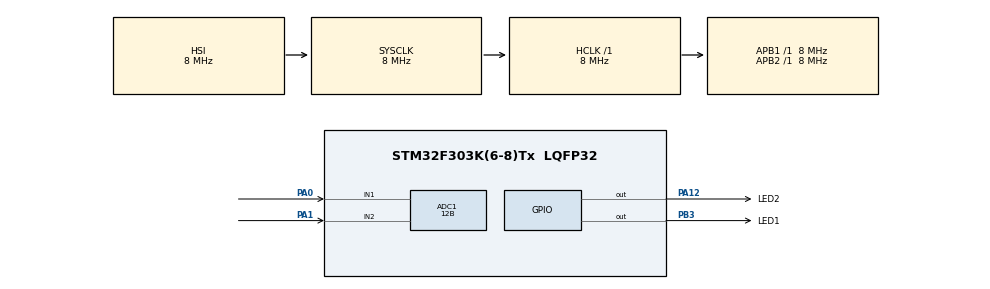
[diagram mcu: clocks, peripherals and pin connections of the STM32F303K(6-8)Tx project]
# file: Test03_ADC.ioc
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ADC1.Channel-0\#ChannelRegularConversion=ADC_CHANNEL_1
ADC1.Channel-1\#ChannelRegularConversion=ADC_CHANNEL_2
ADC1.ClockPrescaler=ADC_CLOCK_SYNC_PCLK_DIV2
ADC1.ContinuousConvMode=ENABLE
ADC1.DMAAccessModeView=ENABLE
ADC1.DMAContinuousRequests=ENABLE
ADC1.DataAlign=ADC_DATAALIGN_RIGHT
ADC1.DiscontinuousConvMode=DISABLE
ADC1.EOCSelection=ADC_EOC_SINGLE_CONV
ADC1.EnableAnalogWatchDog1=false
ADC1.EnableAnalogWatchDog2=false
ADC1.EnableAnalogWatchDog3=false
ADC1.EnableInjectedConversion=ENABLE
ADC1.EnableRegularConversion=ENABLE
ADC1.ExternalTrigConv=ADC_SOFTWARE_START
ADC1.ExternalTrigConvEdge=ADC_EXTERNALTRIGCONVEDGE_NONE
ADC1.InjNumberOfConversion=0
ADC1.LowPowerAutoWait=DISABLE
ADC1.NbrOfConversion=2
ADC1.NbrOfConversionFlag=1
ADC1.Offset-0\#ChannelRegularConversion=0
ADC1.Offset-1\#ChannelRegularConversion=0
ADC1.OffsetNumber-0\#ChannelRegularConversion=ADC_OFFSET_NONE
ADC1.OffsetNumber-1\#ChannelRegularConversion=ADC_OFFSET_NONE
ADC1.Overrun=ADC_OVR_DATA_PRESERVED
ADC1.Rank-0\#ChannelRegularConversion=1
ADC1.Rank-1\#ChannelRegularConversion=2
ADC1.Resolution=ADC_RESOLUTION_12B
ADC1.SamplingTime-0\#ChannelRegularConversion=ADC_SAMPLETIME_1CYCLE_5
ADC1.SamplingTime-1\#ChannelRegularConversion=ADC_SAMPLETIME_1CYCLE_5
ADC1.ScanConvMode=ADC_SCAN_ENABLE
ADC1.SubFamily=STM32F303x8
ADC1.master=1
Dma.ADC1.0.Direction=DMA_PERIPH_TO_MEMORY
Dma.ADC1.0.Instance=DMA1_Channel1
Dma.ADC1.0.MemDataAlignment=DMA_MDATAALIGN_HALFWORD
Dma.ADC1.0.MemInc=DMA_MINC_ENABLE
Dma.ADC1.0.Mode=DMA_CIRCULAR
Dma.ADC1.0.PeriphDataAlignment=DMA_PDATAALIGN_HALFWORD
Dma.ADC1.0.PeriphInc=DMA_PINC_DISABLE
Dma.ADC1.0.Priority=DMA_PRIORITY_LOW
Dma.Request0=ADC1
Mcu.Family=STM32F3
Mcu.Name=STM32F303K(6-8)Tx
Mcu.Package=LQFP32
NVIC.DMA1_Channel1_IRQn=true\:0\:0\:false\:true\:true\:1
NVIC.PriorityGroup=NVIC_PRIORITYGROUP_4
PA0.Mode=IN1-Single-Ended
PA0.Signal=ADC1_IN1
PA1.Mode=IN2-Single-Ended
PA1.Signal=ADC1_IN2
PA12.GPIO_Label=LED2
PA12.Signal=GPIO_Output
PB3.GPIO_Label=LED1
PB3.Signal=GPIO_Output
ProjectManager.HeapSize=0x200
ProjectManager.StackSize=0x400
ProjectManager.TargetToolchain=SW4STM32
RCC.AHBFreq_Value=8000000
RCC.APB1Freq_Value=8000000
RCC.APB2Freq_Value=8000000
RCC.CortexFreq_Value=8000000
RCC.HSE_VALUE=8000000
RCC.HSI_VALUE=8000000
RCC.PLLMUL=RCC_PLL_MUL4
RCC.SYSCLKFreq_VALUE=8000000
board=Test03_ADC

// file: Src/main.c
/**
  ******************************************************************************
  * File Name          : main.c
  * Description        : Main program body
  ******************************************************************************
  *
  * COPYRIGHT(c) 2016 STMicroelectronics
  *
  * Redistribution and use in source and binary forms, with or without modification,
  * are permitted provided that the following conditions are met:
  *   1. Redistributions of source code must retain the above copyright notice,
  *      this list of conditions and the following disclaimer.
  *   2. Redistributions in binary form must reproduce the above copyright notice,
  *      this list of conditions and the following disclaimer in the documentation
  *      and/or other materials provided with the distribution.
  *   3. Neither the name of STMicroelectronics nor the names of its contributors
  *      may be used to endorse or promote products derived from this software
  *      without specific prior written permission.
  *
  * THIS SOFTWARE IS PROVIDED BY THE COPYRIGHT HOLDERS AND CONTRIBUTORS "AS IS"
  * AND ANY EXPRESS OR IMPLIED WARRANTIES, INCLUDING, BUT NOT LIMITED TO, THE
  * IMPLIED WARRANTIES OF MERCHANTABILITY AND FITNESS FOR A PARTICULAR PURPOSE ARE
  * DISCLAIMED. IN NO EVENT SHALL THE COPYRIGHT HOLDER OR CONTRIBUTORS BE LIABLE
  * FOR ANY DIRECT, INDIRECT, INCIDENTAL, SPECIAL, EXEMPLARY, OR CONSEQUENTIAL
  * DAMAGES (INCLUDING, BUT NOT LIMITED TO, PROCUREMENT OF SUBSTITUTE GOODS OR
  * SERVICES; LOSS OF USE, DATA, OR PROFITS; OR BUSINESS INTERRUPTION) HOWEVER
  * CAUSED AND ON ANY THEORY OF LIABILITY, WHETHER IN CONTRACT, STRICT LIABILITY,
  * OR TORT (INCLUDING NEGLIGENCE OR OTHERWISE) ARISING IN ANY WAY OUT OF THE USE
  * OF THIS SOFTWARE, EVEN IF ADVISED OF THE POSSIBILITY OF SUCH DAMAGE.
  *
  ******************************************************************************
  */
#include "main.h"
#include "stm32f3xx_hal.h"

ADC_HandleTypeDef hadc1;
DMA_HandleTypeDef hdma_adc1;

/* USER CODE BEGIN PV */
/* Private variables ---------------------------------------------------------*/

/* USER CODE END PV */

void SystemClock_Config(void);
void Error_Handler(void);
static void MX_GPIO_Init(void);
static void MX_DMA_Init(void);
static void MX_ADC1_Init(void);
static void MX_NVIC_Init(void);

/* USER CODE BEGIN PFP */
/* Private function prototypes -----------------------------------------------*/

/* USER CODE END PFP */

/* USER CODE BEGIN 0 */
enum{LENGTH=2};
uint16_t ADCBuffer[LENGTH];
/* USER CODE END 0 */

int main(void)
{

  /* MCU Configuration----------------------------------------------------------*/

  /* Reset of all peripherals, Initializes the Flash interface and the Systick. */
  HAL_Init();

  /* Configure the system clock */
  SystemClock_Config();

  /* Initialize all configured peripherals */
  MX_GPIO_Init();
  MX_DMA_Init();
  MX_ADC1_Init();

  /* Initialize interrupts */
  MX_NVIC_Init();

  /* USER CODE BEGIN 2 */
	HAL_ADC_MspInit(&hadc1);
	memset(ADCBuffer,0,sizeof(ADCBuffer));
	HAL_ADC_Start_DMA(&hadc1,ADCBuffer,LENGTH);
  /* USER CODE END 2 */

  /* Infinite loop */
  while (1)
  {

  }

}

/** System Clock Configuration
*/
void SystemClock_Config(void)
{

  RCC_OscInitTypeDef RCC_OscInitStruct;
  RCC_ClkInitTypeDef RCC_ClkInitStruct;

    /**Initializes the CPU, AHB and APB busses clocks
    */
  RCC_OscInitStruct.OscillatorType = RCC_OSCILLATORTYPE_HSI;
  RCC_OscInitStruct.HSIState = RCC_HSI_ON;
  RCC_OscInitStruct.HSICalibrationValue = 16;
  RCC_OscInitStruct.PLL.PLLState = RCC_PLL_NONE;
  if (HAL_RCC_OscConfig(&RCC_OscInitStruct) != HAL_OK)
  {
    Error_Handler();
  }

    /**Initializes the CPU, AHB and APB busses clocks
    */
  RCC_ClkInitStruct.ClockType = RCC_CLOCKTYPE_HCLK|RCC_CLOCKTYPE_SYSCLK
                              |RCC_CLOCKTYPE_PCLK1|RCC_CLOCKTYPE_PCLK2;
  RCC_ClkInitStruct.SYSCLKSource = RCC_SYSCLKSOURCE_HSI;
  RCC_ClkInitStruct.AHBCLKDivider = RCC_SYSCLK_DIV1;
  RCC_ClkInitStruct.APB1CLKDivider = RCC_HCLK_DIV1;
  RCC_ClkInitStruct.APB2CLKDivider = RCC_HCLK_DIV1;

  if (HAL_RCC_ClockConfig(&RCC_ClkInitStruct, FLASH_LATENCY_0) != HAL_OK)
  {
    Error_Handler();
  }

    /**Configure the Systick interrupt time
    */
  HAL_SYSTICK_Config(HAL_RCC_GetHCLKFreq()/1000);

    /**Configure the Systick
    */
  HAL_SYSTICK_CLKSourceConfig(SYSTICK_CLKSOURCE_HCLK);

  /* SysTick_IRQn interrupt configuration */
  HAL_NVIC_SetPriority(SysTick_IRQn, 0, 0);
}

/** NVIC Configuration
*/
static void MX_NVIC_Init(void)
{
  /* DMA1_Channel1_IRQn interrupt configuration */
  HAL_NVIC_SetPriority(DMA1_Channel1_IRQn, 0, 0);
  HAL_NVIC_EnableIRQ(DMA1_Channel1_IRQn);
}

/* ADC1 init function */
static void MX_ADC1_Init(void)
{

  ADC_MultiModeTypeDef multimode;
  ADC_ChannelConfTypeDef sConfig;

    /**Common config
    */
  hadc1.Instance = ADC1;
  hadc1.Init.ClockPrescaler = ADC_CLOCK_SYNC_PCLK_DIV2;
  hadc1.Init.Resolution = ADC_RESOLUTION_12B;
  hadc1.Init.ScanConvMode = ADC_SCAN_ENABLE;
  hadc1.Init.ContinuousConvMode = ENABLE;
  hadc1.Init.DiscontinuousConvMode = DISABLE;
  hadc1.Init.ExternalTrigConvEdge = ADC_EXTERNALTRIGCONVEDGE_NONE;
  hadc1.Init.ExternalTrigConv = ADC_SOFTWARE_START;
  hadc1.Init.DataAlign = ADC_DATAALIGN_RIGHT;
  hadc1.Init.NbrOfConversion = 2;
  hadc1.Init.DMAContinuousRequests = ENABLE;
  hadc1.Init.EOCSelection = ADC_EOC_SINGLE_CONV;
  hadc1.Init.LowPowerAutoWait = DISABLE;
  hadc1.Init.Overrun = ADC_OVR_DATA_PRESERVED;
  if (HAL_ADC_Init(&hadc1) != HAL_OK)
  {
    Error_Handler();
  }

    /**Configure the ADC multi-mode
    */
  multimode.DMAAccessMode = ADC_DMAACCESSMODE_12_10_BITS;
  multimode.TwoSamplingDelay = ADC_TWOSAMPLINGDELAY_1CYCLE;
  if (HAL_ADCEx_MultiModeConfigChannel(&hadc1, &multimode) != HAL_OK)
  {
    Error_Handler();
  }

    /**Configure Regular Channel
    */
  sConfig.Channel = ADC_CHANNEL_1;
  sConfig.Rank = 1;
  sConfig.SingleDiff = ADC_SINGLE_ENDED;
  sConfig.SamplingTime = ADC_SAMPLETIME_1CYCLE_5;
  sConfig.OffsetNumber = ADC_OFFSET_NONE;
  sConfig.Offset = 0;
  if (HAL_ADC_ConfigChannel(&hadc1, &sConfig) != HAL_OK)
  {
    Error_Handler();
  }

    /**Configure Regular Channel
    */
  sConfig.Channel = ADC_CHANNEL_2;
  sConfig.Rank = 2;
  if (HAL_ADC_ConfigChannel(&hadc1, &sConfig) != HAL_OK)
  {
    Error_Handler();
  }

}

static void MX_DMA_Init(void)
{
  /* DMA controller clock enable */
  __HAL_RCC_DMA1_CLK_ENABLE();

}

/** Configure pins as
        * Analog
        * Input
        * Output
        * EVENT_OUT
        * EXTI
*/
static void MX_GPIO_Init(void)
{

  GPIO_InitTypeDef GPIO_InitStruct;

  /* GPIO Ports Clock Enable */
  __HAL_RCC_GPIOA_CLK_ENABLE();
  __HAL_RCC_GPIOB_CLK_ENABLE();

  /*Configure GPIO pin Output Level */
  HAL_GPIO_WritePin(LED2_GPIO_Port, LED2_Pin, GPIO_PIN_RESET);

  /*Configure GPIO pin Output Level */
  HAL_GPIO_WritePin(LED1_GPIO_Port, LED1_Pin, GPIO_PIN_RESET);

  /*Configure GPIO pin : LED2_Pin */
  GPIO_InitStruct.Pin = LED2_Pin;
  GPIO_InitStruct.Mode = GPIO_MODE_OUTPUT_PP;
  GPIO_InitStruct.Pull = GPIO_NOPULL;
  GPIO_InitStruct.Speed = GPIO_SPEED_FREQ_LOW;
  HAL_GPIO_Init(LED2_GPIO_Port, &GPIO_InitStruct);

  /*Configure GPIO pin : LED1_Pin */
  GPIO_InitStruct.Pin = LED1_Pin;
  GPIO_InitStruct.Mode = GPIO_MODE_OUTPUT_PP;
  GPIO_InitStruct.Pull = GPIO_NOPULL;
  GPIO_InitStruct.Speed = GPIO_SPEED_FREQ_LOW;
  HAL_GPIO_Init(LED1_GPIO_Port, &GPIO_InitStruct);

}

/* USER CODE BEGIN 4 */
void HAL_ADC_ConvCpltCallback(ADC_HandleTypeDef* AdcHandle){
	if(ADCBuffer[0]>1024){
		HAL_GPIO_WritePin(LED1_GPIO_Port,LED1_Pin,GPIO_PIN_SET);
	}else{
		HAL_GPIO_WritePin(LED1_GPIO_Port,LED1_Pin,GPIO_PIN_RESET);
	}
	if(ADCBuffer[1]>3072){
		HAL_GPIO_WritePin(LED2_GPIO_Port,LED2_Pin,GPIO_PIN_SET);
	}else{
		HAL_GPIO_WritePin(LED2_GPIO_Port,LED2_Pin,GPIO_PIN_RESET);
	}
}
/* USER CODE END 4 */

void Error_Handler(void)
{
  /* USER CODE BEGIN Error_Handler */
  /* User can add his own implementation to report the HAL error return state */
  while(1)
  {
		HAL_GPIO_WritePin(LED1_GPIO_Port,LED1_Pin,GPIO_PIN_SET);
		HAL_Delay(50);
		HAL_GPIO_WritePin(LED1_GPIO_Port,LED1_Pin,GPIO_PIN_RESET);
		HAL_Delay(50);
  }
  /* USER CODE END Error_Handler */
}

/************************ (C) COPYRIGHT STMicroelectronics *****END OF FILE****/
